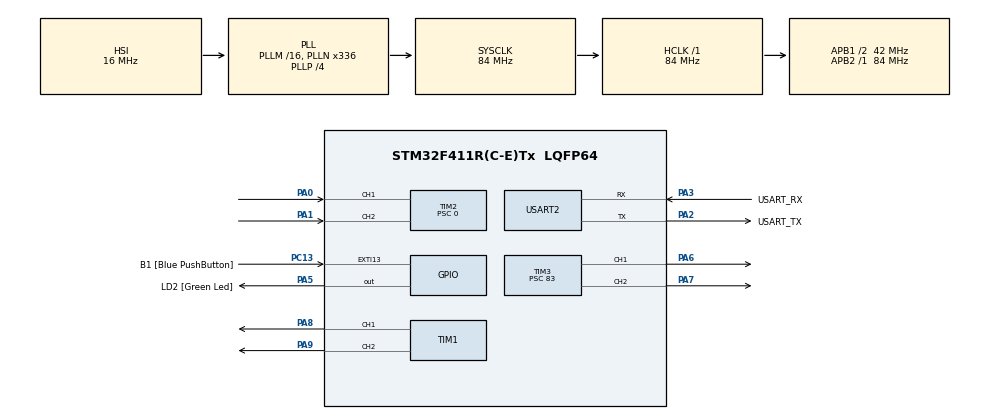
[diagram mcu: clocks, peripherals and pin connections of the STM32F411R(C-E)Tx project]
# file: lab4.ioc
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ARM.CMSIS.5.6.0.CMSISJjCORE=true
ARM.CMSIS.5.6.0.CMSISJjDSP=Library
Mcu.Family=STM32F4
Mcu.Name=STM32F411R(C-E)Tx
Mcu.Package=LQFP64
NVIC.PriorityGroup=NVIC_PRIORITYGROUP_0
PA0-WKUP.Signal=S_TIM2_CH1_ETR
PA1.Signal=S_TIM2_CH2
PA13.GPIO_Label=TMS
PA13.Mode=Serial_Wire
PA13.Signal=SYS_JTMS-SWDIO
PA14.GPIO_Label=TCK
PA14.Mode=Serial_Wire
PA14.Signal=SYS_JTCK-SWCLK
PA2.GPIO_Label=USART_TX
PA2.Mode=Asynchronous
PA2.Signal=USART2_TX
PA3.GPIO_Label=USART_RX
PA3.Mode=Asynchronous
PA3.Signal=USART2_RX
PA5.GPIO_Label=LD2 [Green Led]
PA5.Signal=GPIO_Output
PA6.Signal=S_TIM3_CH1
PA7.Signal=S_TIM3_CH2
PA8.Signal=S_TIM1_CH1
PA9.Signal=S_TIM1_CH2
PB3.GPIO_Label=SWO
PB3.Signal=SYS_JTDO-SWO
PC13-ANTI_TAMP.GPIO_Label=B1 [Blue PushButton]
PC13-ANTI_TAMP.GPIO_ModeDefaultEXTI=GPIO_MODE_IT_FALLING
PC13-ANTI_TAMP.Signal=GPXTI13
PC14-OSC32_IN.Mode=LSE-External-Oscillator
PC14-OSC32_IN.Signal=RCC_OSC32_IN
PC15-OSC32_OUT.Mode=LSE-External-Oscillator
PC15-OSC32_OUT.Signal=RCC_OSC32_OUT
PH0\ -\ OSC_IN.Mode=HSE-External-Clock-Source
PH0\ -\ OSC_IN.Signal=RCC_OSC_IN
PH1\ -\ OSC_OUT.Mode=HSE-External-Clock-Source
PH1\ -\ OSC_OUT.Signal=RCC_OSC_OUT
ProjectManager.HeapSize=0x200
ProjectManager.StackSize=0x400
ProjectManager.TargetToolchain=STM32CubeIDE
RCC.48MHZClocksFreq_Value=84000000
RCC.AHBFreq_Value=84000000
RCC.APB1CLKDivider=RCC_HCLK_DIV2
RCC.APB1Freq_Value=42000000
RCC.APB1TimFreq_Value=84000000
RCC.APB2Freq_Value=84000000
RCC.APB2TimFreq_Value=84000000
RCC.CortexFreq_Value=84000000
RCC.FLatency-AdvancedSettings=FLASH_LATENCY_2
RCC.HCLKFreq_Value=84000000
RCC.HSE_VALUE=8000000
RCC.HSI_VALUE=16000000
RCC.PLLN=336
RCC.PLLP=RCC_PLLP_DIV4
RCC.SYSCLKFreq_VALUE=84000000
RCC.SYSCLKSource=RCC_SYSCLKSOURCE_PLLCLK
RCC.VCOOutputFreq_Value=336000000
SH.S_TIM1_CH1.0=TIM1_CH1,PWM Generation1 CH1
SH.S_TIM1_CH2.0=TIM1_CH2,PWM Generation2 CH2
SH.S_TIM2_CH1_ETR.0=TIM2_CH1,Encoder_Interface
SH.S_TIM2_CH2.0=TIM2_CH2,Encoder_Interface
SH.S_TIM3_CH1.0=TIM3_CH1,PWM Generation1 CH1
SH.S_TIM3_CH2.0=TIM3_CH2,PWM Generation2 CH2
TIM1.Channel-PWM\ Generation1\ CH1=TIM_CHANNEL_1
TIM1.Channel-PWM\ Generation2\ CH2=TIM_CHANNEL_2
TIM2.EncoderMode=TIM_ENCODERMODE_TI12
TIM2.Period=30719999
TIM2.Prescaler=0
TIM3.Channel-PWM\ Generation1\ CH1=TIM_CHANNEL_1
TIM3.Channel-PWM\ Generation2\ CH2=TIM_CHANNEL_2
TIM3.Period=99
TIM3.Prescaler=83
USART2.VirtualMode=VM_ASYNC
VP_ARM.CMSIS_VS_CMSISJjCORE_5.3.0_5.6.0.Mode=CMSISJjCORE
VP_ARM.CMSIS_VS_CMSISJjDSP_1.7.0_5.6.0.Mode=CMSISJjDSP
VP_TIM1_VS_ClockSourceINT.Mode=Internal
VP_TIM3_VS_ClockSourceINT.Mode=Internal
board=NUCLEO-F411RE

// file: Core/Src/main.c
/* USER CODE BEGIN Header */
/**
  ******************************************************************************
  * @file           : main.c
  * @brief          : Main program body
  ******************************************************************************
  * @attention
  *
  * Copyright (c) 2023 STMicroelectronics.
  * All rights reserved.
  *
  * This software is licensed under terms that can be found in the LICENSE file
  * in the root directory of this software component.
  * If no LICENSE file comes with this software, it is provided AS-IS.
  *
  ******************************************************************************
  */
/* USER CODE END Header */
#include "main.h"

/* USER CODE BEGIN Includes */
#include "arm_math.h"
//ปภัสญา สัจจา
/* USER CODE END Includes */

TIM_HandleTypeDef htim1;
TIM_HandleTypeDef htim2;
TIM_HandleTypeDef htim3;

UART_HandleTypeDef huart2;

/* USER CODE BEGIN PV */
uint32_t QEIReadRaw=0;
float QEIPosition=0;

uint32_t Duty1 = 0;
uint32_t Duty2 = 0;

arm_pid_instance_f32 PID={0};
float position = 0;
float setposition =0;
float Vfeedback =0;
float error=0;
/* USER CODE END PV */

void SystemClock_Config(void);
static void MX_GPIO_Init(void);
static void MX_USART2_UART_Init(void);
static void MX_TIM2_Init(void);
static void MX_TIM1_Init(void);
static void MX_TIM3_Init(void);

int main(void)
{

  /* MCU Configuration--------------------------------------------------------*/

  /* Reset of all peripherals, Initializes the Flash interface and the Systick. */
  HAL_Init();

  /* Configure the system clock */
  SystemClock_Config();

  /* Initialize all configured peripherals */
  MX_GPIO_Init();
  MX_USART2_UART_Init();
  MX_TIM2_Init();
  MX_TIM1_Init();
  MX_TIM3_Init();
  /* USER CODE BEGIN 2 */
  HAL_TIM_Base_Start(&htim3);
  HAL_TIM_PWM_Start(&htim3, TIM_CHANNEL_1);
  HAL_TIM_PWM_Start(&htim3, TIM_CHANNEL_2);

HAL_TIM_Encoder_Start(&htim2,TIM_CHANNEL_1 | TIM_CHANNEL_2);

PID.Kp=0.5;
PID.Ki=0.05;
PID.Kd=1;
arm_pid_init_f32(&PID,0);
  /* USER CODE END 2 */

  /* Infinite loop */
  while (1)
  {

    /* USER CODE BEGIN 3 */
	  static uint32_t timestamp =0;
	  if(HAL_GetTick()>timestamp){
		  timestamp = HAL_GetTick()+500;
		  QEIReadRaw = __HAL_TIM_GET_COUNTER(&htim2);
		  QEIPosition = (QEIReadRaw/3072.0)*360;

		  Vfeedback = arm_pid_f32(&PID,setposition-position);
		  position=QEIPosition;
		  error=setposition-QEIPosition;
		  if(error<0){
			  Duty1=0;
			  Duty2=Vfeedback*(-1);
		  }
		  else if(error >0){
			  Duty2=0;
			  Duty1=Vfeedback;
		  }
		  __HAL_TIM_SET_COMPARE(&htim3,TIM_CHANNEL_1,Duty1);
		  __HAL_TIM_SET_COMPARE(&htim3,TIM_CHANNEL_2,Duty2);
	  }
  }

  /* USER CODE END 3 */
}

void SystemClock_Config(void)
{
  RCC_OscInitTypeDef RCC_OscInitStruct = {0};
  RCC_ClkInitTypeDef RCC_ClkInitStruct = {0};

  /** Configure the main internal regulator output voltage
  */
  __HAL_RCC_PWR_CLK_ENABLE();
  __HAL_PWR_VOLTAGESCALING_CONFIG(PWR_REGULATOR_VOLTAGE_SCALE1);

  /** Initializes the RCC Oscillators according to the specified parameters
  * in the RCC_OscInitTypeDef structure.
  */
  RCC_OscInitStruct.OscillatorType = RCC_OSCILLATORTYPE_HSI;
  RCC_OscInitStruct.HSIState = RCC_HSI_ON;
  RCC_OscInitStruct.HSICalibrationValue = RCC_HSICALIBRATION_DEFAULT;
  RCC_OscInitStruct.PLL.PLLState = RCC_PLL_ON;
  RCC_OscInitStruct.PLL.PLLSource = RCC_PLLSOURCE_HSI;
  RCC_OscInitStruct.PLL.PLLM = 16;
  RCC_OscInitStruct.PLL.PLLN = 336;
  RCC_OscInitStruct.PLL.PLLP = RCC_PLLP_DIV4;
  RCC_OscInitStruct.PLL.PLLQ = 4;
  if (HAL_RCC_OscConfig(&RCC_OscInitStruct) != HAL_OK)
  {
    Error_Handler();
  }

  /** Initializes the CPU, AHB and APB buses clocks
  */
  RCC_ClkInitStruct.ClockType = RCC_CLOCKTYPE_HCLK|RCC_CLOCKTYPE_SYSCLK
                              |RCC_CLOCKTYPE_PCLK1|RCC_CLOCKTYPE_PCLK2;
  RCC_ClkInitStruct.SYSCLKSource = RCC_SYSCLKSOURCE_PLLCLK;
  RCC_ClkInitStruct.AHBCLKDivider = RCC_SYSCLK_DIV1;
  RCC_ClkInitStruct.APB1CLKDivider = RCC_HCLK_DIV2;
  RCC_ClkInitStruct.APB2CLKDivider = RCC_HCLK_DIV1;

  if (HAL_RCC_ClockConfig(&RCC_ClkInitStruct, FLASH_LATENCY_2) != HAL_OK)
  {
    Error_Handler();
  }
}

static void MX_TIM1_Init(void)
{

  TIM_ClockConfigTypeDef sClockSourceConfig = {0};
  TIM_MasterConfigTypeDef sMasterConfig = {0};
  TIM_OC_InitTypeDef sConfigOC = {0};
  TIM_BreakDeadTimeConfigTypeDef sBreakDeadTimeConfig = {0};

  htim1.Instance = TIM1;
  htim1.Init.Prescaler = 0;
  htim1.Init.CounterMode = TIM_COUNTERMODE_UP;
  htim1.Init.Period = 65535;
  htim1.Init.ClockDivision = TIM_CLOCKDIVISION_DIV1;
  htim1.Init.RepetitionCounter = 0;
  htim1.Init.AutoReloadPreload = TIM_AUTORELOAD_PRELOAD_DISABLE;
  if (HAL_TIM_Base_Init(&htim1) != HAL_OK)
  {
    Error_Handler();
  }
  sClockSourceConfig.ClockSource = TIM_CLOCKSOURCE_INTERNAL;
  if (HAL_TIM_ConfigClockSource(&htim1, &sClockSourceConfig) != HAL_OK)
  {
    Error_Handler();
  }
  if (HAL_TIM_PWM_Init(&htim1) != HAL_OK)
  {
    Error_Handler();
  }
  sMasterConfig.MasterOutputTrigger = TIM_TRGO_RESET;
  sMasterConfig.MasterSlaveMode = TIM_MASTERSLAVEMODE_DISABLE;
  if (HAL_TIMEx_MasterConfigSynchronization(&htim1, &sMasterConfig) != HAL_OK)
  {
    Error_Handler();
  }
  sConfigOC.OCMode = TIM_OCMODE_PWM1;
  sConfigOC.Pulse = 0;
  sConfigOC.OCPolarity = TIM_OCPOLARITY_HIGH;
  sConfigOC.OCNPolarity = TIM_OCNPOLARITY_HIGH;
  sConfigOC.OCFastMode = TIM_OCFAST_DISABLE;
  sConfigOC.OCIdleState = TIM_OCIDLESTATE_RESET;
  sConfigOC.OCNIdleState = TIM_OCNIDLESTATE_RESET;
  if (HAL_TIM_PWM_ConfigChannel(&htim1, &sConfigOC, TIM_CHANNEL_1) != HAL_OK)
  {
    Error_Handler();
  }
  if (HAL_TIM_PWM_ConfigChannel(&htim1, &sConfigOC, TIM_CHANNEL_2) != HAL_OK)
  {
    Error_Handler();
  }
  sBreakDeadTimeConfig.OffStateRunMode = TIM_OSSR_DISABLE;
  sBreakDeadTimeConfig.OffStateIDLEMode = TIM_OSSI_DISABLE;
  sBreakDeadTimeConfig.LockLevel = TIM_LOCKLEVEL_OFF;
  sBreakDeadTimeConfig.DeadTime = 0;
  sBreakDeadTimeConfig.BreakState = TIM_BREAK_DISABLE;
  sBreakDeadTimeConfig.BreakPolarity = TIM_BREAKPOLARITY_HIGH;
  sBreakDeadTimeConfig.AutomaticOutput = TIM_AUTOMATICOUTPUT_DISABLE;
  if (HAL_TIMEx_ConfigBreakDeadTime(&htim1, &sBreakDeadTimeConfig) != HAL_OK)
  {
    Error_Handler();
  }
  HAL_TIM_MspPostInit(&htim1);

}

static void MX_TIM2_Init(void)
{

  TIM_Encoder_InitTypeDef sConfig = {0};
  TIM_MasterConfigTypeDef sMasterConfig = {0};

  htim2.Instance = TIM2;
  htim2.Init.Prescaler = 0;
  htim2.Init.CounterMode = TIM_COUNTERMODE_UP;
  htim2.Init.Period = 30719999;
  htim2.Init.ClockDivision = TIM_CLOCKDIVISION_DIV1;
  htim2.Init.AutoReloadPreload = TIM_AUTORELOAD_PRELOAD_DISABLE;
  sConfig.EncoderMode = TIM_ENCODERMODE_TI12;
  sConfig.IC1Polarity = TIM_ICPOLARITY_RISING;
  sConfig.IC1Selection = TIM_ICSELECTION_DIRECTTI;
  sConfig.IC1Prescaler = TIM_ICPSC_DIV1;
  sConfig.IC1Filter = 0;
  sConfig.IC2Polarity = TIM_ICPOLARITY_RISING;
  sConfig.IC2Selection = TIM_ICSELECTION_DIRECTTI;
  sConfig.IC2Prescaler = TIM_ICPSC_DIV1;
  sConfig.IC2Filter = 0;
  if (HAL_TIM_Encoder_Init(&htim2, &sConfig) != HAL_OK)
  {
    Error_Handler();
  }
  sMasterConfig.MasterOutputTrigger = TIM_TRGO_RESET;
  sMasterConfig.MasterSlaveMode = TIM_MASTERSLAVEMODE_DISABLE;
  if (HAL_TIMEx_MasterConfigSynchronization(&htim2, &sMasterConfig) != HAL_OK)
  {
    Error_Handler();
  }

}

static void MX_TIM3_Init(void)
{

  TIM_ClockConfigTypeDef sClockSourceConfig = {0};
  TIM_MasterConfigTypeDef sMasterConfig = {0};
  TIM_OC_InitTypeDef sConfigOC = {0};

  htim3.Instance = TIM3;
  htim3.Init.Prescaler = 83;
  htim3.Init.CounterMode = TIM_COUNTERMODE_UP;
  htim3.Init.Period = 99;
  htim3.Init.ClockDivision = TIM_CLOCKDIVISION_DIV1;
  htim3.Init.AutoReloadPreload = TIM_AUTORELOAD_PRELOAD_DISABLE;
  if (HAL_TIM_Base_Init(&htim3) != HAL_OK)
  {
    Error_Handler();
  }
  sClockSourceConfig.ClockSource = TIM_CLOCKSOURCE_INTERNAL;
  if (HAL_TIM_ConfigClockSource(&htim3, &sClockSourceConfig) != HAL_OK)
  {
    Error_Handler();
  }
  if (HAL_TIM_PWM_Init(&htim3) != HAL_OK)
  {
    Error_Handler();
  }
  sMasterConfig.MasterOutputTrigger = TIM_TRGO_RESET;
  sMasterConfig.MasterSlaveMode = TIM_MASTERSLAVEMODE_DISABLE;
  if (HAL_TIMEx_MasterConfigSynchronization(&htim3, &sMasterConfig) != HAL_OK)
  {
    Error_Handler();
  }
  sConfigOC.OCMode = TIM_OCMODE_PWM1;
  sConfigOC.Pulse = 0;
  sConfigOC.OCPolarity = TIM_OCPOLARITY_HIGH;
  sConfigOC.OCFastMode = TIM_OCFAST_DISABLE;
  if (HAL_TIM_PWM_ConfigChannel(&htim3, &sConfigOC, TIM_CHANNEL_1) != HAL_OK)
  {
    Error_Handler();
  }
  if (HAL_TIM_PWM_ConfigChannel(&htim3, &sConfigOC, TIM_CHANNEL_2) != HAL_OK)
  {
    Error_Handler();
  }
  HAL_TIM_MspPostInit(&htim3);

}

static void MX_USART2_UART_Init(void)
{

  huart2.Instance = USART2;
  huart2.Init.BaudRate = 115200;
  huart2.Init.WordLength = UART_WORDLENGTH_8B;
  huart2.Init.StopBits = UART_STOPBITS_1;
  huart2.Init.Parity = UART_PARITY_NONE;
  huart2.Init.Mode = UART_MODE_TX_RX;
  huart2.Init.HwFlowCtl = UART_HWCONTROL_NONE;
  huart2.Init.OverSampling = UART_OVERSAMPLING_16;
  if (HAL_UART_Init(&huart2) != HAL_OK)
  {
    Error_Handler();
  }

}

static void MX_GPIO_Init(void)
{
  GPIO_InitTypeDef GPIO_InitStruct = {0};

  /* GPIO Ports Clock Enable */
  __HAL_RCC_GPIOC_CLK_ENABLE();
  __HAL_RCC_GPIOH_CLK_ENABLE();
  __HAL_RCC_GPIOA_CLK_ENABLE();
  __HAL_RCC_GPIOB_CLK_ENABLE();

  /*Configure GPIO pin Output Level */
  HAL_GPIO_WritePin(LD2_GPIO_Port, LD2_Pin, GPIO_PIN_RESET);

  /*Configure GPIO pin : B1_Pin */
  GPIO_InitStruct.Pin = B1_Pin;
  GPIO_InitStruct.Mode = GPIO_MODE_IT_FALLING;
  GPIO_InitStruct.Pull = GPIO_NOPULL;
  HAL_GPIO_Init(B1_GPIO_Port, &GPIO_InitStruct);

  /*Configure GPIO pin : LD2_Pin */
  GPIO_InitStruct.Pin = LD2_Pin;
  GPIO_InitStruct.Mode = GPIO_MODE_OUTPUT_PP;
  GPIO_InitStruct.Pull = GPIO_NOPULL;
  GPIO_InitStruct.Speed = GPIO_SPEED_FREQ_LOW;
  HAL_GPIO_Init(LD2_GPIO_Port, &GPIO_InitStruct);

}

/* USER CODE BEGIN 4 */
int _write(int file,char *ptr,int len){
	int i;
	for(i=0;i<len;i++){
		ITM_SendChar(*ptr++);
	}
	return len;
}

/* USER CODE END 4 */

void Error_Handler(void)
{
  __disable_irq();
  while (1)
  {
  }
}
